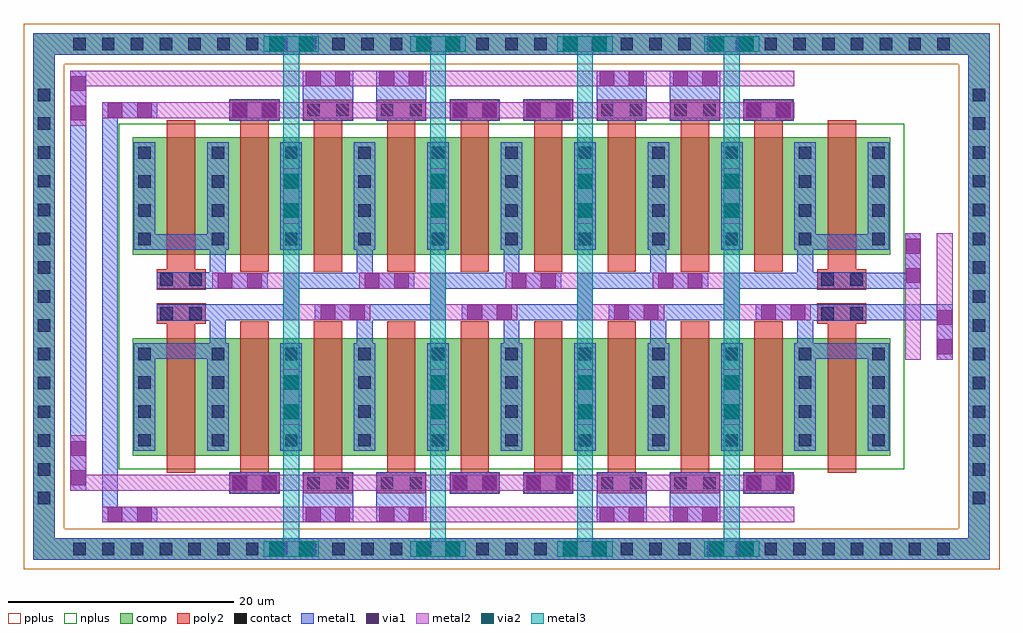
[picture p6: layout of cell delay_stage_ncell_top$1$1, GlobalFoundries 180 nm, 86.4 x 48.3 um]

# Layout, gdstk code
from math import pi, radians
import gdstk
lib = gdstk.Library(unit=1e-6, precision=1e-09)
def R(c, l, rs):  # rectangles x0, y0, x1, y1
    for r in rs: c.add(gdstk.rectangle(r[:2], r[2:], *l))
def A(c, l, x, y, w, h, nx, ny, dx, dy):  # array of equal rectangles
    R(c, l, [(x+i*dx, y+j*dy, x+i*dx+w, y+j*dy+h) for i in range(nx) for j in range(ny)])
comp = (22, 0)
poly2 = (30, 0)
pplus = (31, 0)
nplus = (32, 0)
contact = (33, 0)
metal1 = (34, 0)
via1 = (35, 0)
metal2 = (36, 0)
via2 = (38, 0)
metal3 = (42, 0)

delay_stage_ncell_1_1_2_ = lib.new_cell('delay_stage_ncell_1$1$2$1$1$1')
R(delay_stage_ncell_1_1_2_, comp, [(0,1.5,2.1,11.9), (2.1,1.5,6.5,11.9), (6.5,1.5,8.6,11.9)])
R(delay_stage_ncell_1_1_2_, poly2, [(3.05,0,5.55,13.4)])
A(delay_stage_ncell_1_1_2_, contact, 0.5, 2.325, 1.1, 1.1, 1, 4, 0, 2.55)
A(delay_stage_ncell_1_1_2_, contact, 7, 2.325, 1.1, 1.1, 1, 4, 0, 2.55)
R(delay_stage_ncell_1_1_2_, metal1, [(0.1,1.925,2,11.475), (6.6,1.925,8.5,11.475)])

delay_stage_ncell_4_1_1_ = lib.new_cell('delay_stage_ncell_4$1$1$1$1')
A(delay_stage_ncell_4_1_1_, poly2, 2.125, 13.375, 4.35, 1.8, 4, 1, 6.5, 0)
R(delay_stage_ncell_4_1_1_, contact, [(2.475,13.725,3.575,14.825), (5.025,13.725,6.125,14.825), (8.975,13.725,10.075,14.825), (11.525,13.725,12.625,14.825), (15.475,13.725,16.575,14.825), (18.025,13.725,19.125,14.825), (21.975,13.725,23.075,14.825), (24.525,13.725,25.625,14.825)])
A(delay_stage_ncell_4_1_1_, metal1, 2.075, 13.325, 4.45, 1.9, 4, 1, 6.5, 0)
delay_stage_ncell_4_1_1_.add(gdstk.Reference(delay_stage_ncell_1_1_2_, (0,-0.025)))
delay_stage_ncell_4_1_1_.add(gdstk.Reference(delay_stage_ncell_1_1_2_, (6.5,-0.025)))
delay_stage_ncell_4_1_1_.add(gdstk.Reference(delay_stage_ncell_1_1_2_, (13,-0.025)))
delay_stage_ncell_4_1_1_.add(gdstk.Reference(delay_stage_ncell_1_1_2_, (19.5,-0.025)))

delay_stage_ncell_4_2_1_ = lib.new_cell('delay_stage_ncell_4_2$1$1$1')
R(delay_stage_ncell_4_2_1_, metal1, [(8.575,0,13.025,2.55), (15.075,0,19.525,2.55), (8.575,37.45,13.025,40), (15.075,37.45,19.525,40)])
R(delay_stage_ncell_4_2_1_, via1, [(8.85,0.05,10.15,1.35), (11.45,0.05,12.75,1.35), (15.35,0.05,16.65,1.35), (17.95,0.05,19.25,1.35), (2.35,2.85,3.65,4.15), (4.95,2.85,6.25,4.15), (21.85,2.85,23.15,4.15), (24.45,2.85,25.75,4.15), (6.9,9.15,8.2,10.45), (19.9,9.15,21.2,10.45), (6.9,11.75,8.2,13.05), (19.9,11.75,21.2,13.05), (10.15,17.95,11.45,19.25), (12.75,17.95,14.05,19.25), (23.15,17.95,24.45,19.25), (25.75,17.95,27.05,19.25), (1.05,20.75,2.35,22.05), (3.65,20.75,4.95,22.05), (14.05,20.75,15.35,22.05), (16.65,20.75,17.95,22.05), (6.9,26.95,8.2,28.25), (19.9,26.95,21.2,28.25), (6.9,29.55,8.2,30.85), (19.9,29.55,21.2,30.85), (2.35,35.85,3.65,37.15), (4.95,35.85,6.25,37.15), (21.85,35.85,23.15,37.15), (24.45,35.85,25.75,37.15), (8.85,38.65,10.15,39.95), (11.45,38.65,12.75,39.95), (15.35,38.65,16.65,39.95), (17.95,38.65,19.25,39.95)])
R(delay_stage_ncell_4_2_1_, via2, [(6.9,9.15,8.2,10.45), (19.9,9.15,21.2,10.45), (6.9,11.75,8.2,13.05), (19.9,11.75,21.2,13.05), (6.9,26.95,8.2,28.25), (19.9,26.95,21.2,28.25), (6.9,29.55,8.2,30.85), (19.9,29.55,21.2,30.85)])
delay_stage_ncell_4_2_1_.add(gdstk.FlexPath([(14.05,24.125),(14.05,22.1)], 1.4, ends="flush", simple_path=True, layer=34, datatype=0))  # metal1
delay_stage_ncell_4_2_1_.add(gdstk.FlexPath([(14.05,15.875),(14.05,17.9)], 1.4, ends="flush", simple_path=True, layer=34, datatype=0))  # metal1
delay_stage_ncell_4_2_1_.add(gdstk.FlexPath([(1.05,15.875),(1.05,17.9)], 1.4, ends="flush", simple_path=True, layer=34, datatype=0))  # metal1
delay_stage_ncell_4_2_1_.add(gdstk.FlexPath([(1.05,24.125),(1.05,22.1)], 1.4, ends="flush", simple_path=True, layer=34, datatype=0))  # metal1
delay_stage_ncell_4_2_1_.add(gdstk.FlexPath([(14.55,21.4),(7.55,21.4),(7.55,18.6),(0.35,18.6)], 1.4, ends="flush", simple_path=True, layer=34, datatype=0))  # metal1
delay_stage_ncell_4_2_1_.add(gdstk.FlexPath([(5.45,21.4),(0.35,21.4)], 1.4, ends="flush", simple_path=True, layer=34, datatype=0))  # metal1
delay_stage_ncell_4_2_1_.add(gdstk.FlexPath([(27.05,15.875),(27.05,17.9)], 1.4, ends="flush", simple_path=True, layer=34, datatype=0))  # metal1
delay_stage_ncell_4_2_1_.add(gdstk.FlexPath([(27.75,21.4),(20.55,21.4),(20.55,18.6),(13.55,18.6)], 1.4, ends="flush", simple_path=True, layer=34, datatype=0))  # metal1
delay_stage_ncell_4_2_1_.add(gdstk.FlexPath([(18.45,21.4),(13.55,21.4)], 1.4, ends="flush", simple_path=True, layer=34, datatype=0))  # metal1
delay_stage_ncell_4_2_1_.add(gdstk.FlexPath([(27.05,24.125),(27.05,22.1)], 1.4, ends="flush", simple_path=True, layer=34, datatype=0))  # metal1
delay_stage_ncell_4_2_1_.add(gdstk.FlexPath([(14.05,15.875),(14.05,17.9)], 1.4, ends="flush", simple_path=True, layer=34, datatype=0))  # metal1
delay_stage_ncell_4_2_1_.add(gdstk.FlexPath([(27.75,18.6),(22.65,18.6)], 1.4, ends="flush", simple_path=True, layer=34, datatype=0))  # metal1
delay_stage_ncell_4_2_1_.add(gdstk.FlexPath([(14.05,24.125),(14.05,22.1)], 1.4, ends="flush", simple_path=True, layer=34, datatype=0))  # metal1
delay_stage_ncell_4_2_1_.add(gdstk.FlexPath([(14.55,18.6),(9.65,18.6)], 1.4, ends="flush", simple_path=True, layer=34, datatype=0))  # metal1
delay_stage_ncell_4_2_1_.add(gdstk.FlexPath([(27.05,36.5),(2.025,36.5)], 1.4, ends="flush", simple_path=True, layer=36, datatype=0))  # metal2
delay_stage_ncell_4_2_1_.add(gdstk.FlexPath([(27.05,39.3),(2.025,39.3)], 1.4, ends="flush", simple_path=True, layer=36, datatype=0))  # metal2
delay_stage_ncell_4_2_1_.add(gdstk.FlexPath([(27.05,3.5),(2.025,3.5)], 1.4, ends="flush", simple_path=True, layer=36, datatype=0))  # metal2
delay_stage_ncell_4_2_1_.add(gdstk.FlexPath([(27.05,0.7),(2.025,0.7)], 1.4, ends="flush", simple_path=True, layer=36, datatype=0))  # metal2
delay_stage_ncell_4_2_1_.add(gdstk.FlexPath([(20.55,26.45),(20.55,31.35)], 1.4, ends="flush", simple_path=True, layer=36, datatype=0))  # metal2
delay_stage_ncell_4_2_1_.add(gdstk.FlexPath([(7.55,26.45),(7.55,31.35)], 1.4, ends="flush", simple_path=True, layer=36, datatype=0))  # metal2
delay_stage_ncell_4_2_1_.add(gdstk.FlexPath([(20.55,8.65),(20.55,13.55)], 1.4, ends="flush", simple_path=True, layer=36, datatype=0))  # metal2
delay_stage_ncell_4_2_1_.add(gdstk.FlexPath([(7.55,8.65),(7.55,13.55)], 1.4, ends="flush", simple_path=True, layer=36, datatype=0))  # metal2
delay_stage_ncell_4_2_1_.add(gdstk.FlexPath([(14.55,18.6),(7.55,18.6),(7.55,21.4),(0.55,21.4)], 1.4, ends="flush", simple_path=True, layer=36, datatype=0))  # metal2
delay_stage_ncell_4_2_1_.add(gdstk.FlexPath([(27.55,18.6),(20.55,18.6),(20.55,21.4),(13.55,21.4)], 1.4, ends="flush", simple_path=True, layer=36, datatype=0))  # metal2
delay_stage_ncell_4_2_1_.add(gdstk.FlexPath([(20.55,26.45),(20.55,31.35)], 1.4, ends="flush", simple_path=True, layer=42, datatype=0))  # metal3
delay_stage_ncell_4_2_1_.add(gdstk.FlexPath([(7.55,26.45),(7.55,31.35)], 1.4, ends="flush", simple_path=True, layer=42, datatype=0))  # metal3
delay_stage_ncell_4_2_1_.add(gdstk.FlexPath([(20.55,8.65),(20.55,13.55)], 1.4, ends="flush", simple_path=True, layer=42, datatype=0))  # metal3
delay_stage_ncell_4_2_1_.add(gdstk.FlexPath([(7.55,8.65),(7.55,13.55)], 1.4, ends="flush", simple_path=True, layer=42, datatype=0))  # metal3
delay_stage_ncell_4_2_1_.add(gdstk.Reference(delay_stage_ncell_4_1_1_, (0,22.225)))
delay_stage_ncell_4_2_1_.add(gdstk.Reference(delay_stage_ncell_4_1_1_, (0,17.775), x_reflection=True))

delay_stage_ncell_1_1_1_ = lib.new_cell('delay_stage_ncell_1$1$1$1$1$1')
R(delay_stage_ncell_1_1_1_, comp, [(0,1.5,2.1,11.9), (2.1,1.5,6.5,11.9), (6.5,1.5,8.6,11.9)])
R(delay_stage_ncell_1_1_1_, poly2, [(3.05,0,5.55,13.4)])
A(delay_stage_ncell_1_1_1_, contact, 0.5, 2.325, 1.1, 1.1, 1, 4, 0, 2.55)
A(delay_stage_ncell_1_1_1_, contact, 7, 2.325, 1.1, 1.1, 1, 4, 0, 2.55)
R(delay_stage_ncell_1_1_1_, metal1, [(0.1,1.925,2,11.475), (6.6,1.925,8.5,11.475)])

delay_stage_ncell_1_2_1_ = lib.new_cell('delay_stage_ncell_1_2$1$1$1')
R(delay_stage_ncell_1_2_1_, poly2, [(2.125,15.05,6.475,16.85), (2.125,18.05,6.475,19.85)])
R(delay_stage_ncell_1_2_1_, contact, [(2.475,15.4,3.575,16.5), (5.025,15.4,6.125,16.5), (2.475,18.4,3.575,19.5), (5.025,18.4,6.125,19.5)])
R(delay_stage_ncell_1_2_1_, metal1, [(1.05,15.325,6.475,15.35), (1.05,19.55,6.475,19.575)])
delay_stage_ncell_1_2_1_.add(gdstk.FlexPath([(2,12.625),(6.6,12.625)], 1.4, ends="flush", simple_path=True, layer=34, datatype=0))  # metal1
delay_stage_ncell_1_2_1_.add(gdstk.FlexPath([(6.475,16.05),(1.05,16.05)], 1.4, ends="flush", simple_path=True, layer=34, datatype=0))  # metal1
delay_stage_ncell_1_2_1_.add(gdstk.FlexPath([(2,22.275),(6.6,22.275)], 1.4, ends="flush", simple_path=True, layer=34, datatype=0))  # metal1
delay_stage_ncell_1_2_1_.add(gdstk.FlexPath([(6.475,18.85),(1.05,18.85)], 1.4, ends="flush", simple_path=True, layer=34, datatype=0))  # metal1
delay_stage_ncell_1_2_1_.add(gdstk.Reference(delay_stage_ncell_1_1_1_, (0,19.65)))
delay_stage_ncell_1_2_1_.add(gdstk.Reference(delay_stage_ncell_1_1_1_, (0,15.25), x_reflection=True))

delay_stage_ncell_top_1_ = lib.new_cell('delay_stage_ncell_top$1$1')
R(delay_stage_ncell_top_1_, nplus, [(8.45,8.85,77.95,39.45)])
A(delay_stage_ncell_top_1_, contact, 4.4, 1.25, 1.1, 1.1, 31, 2, 2.55, 44.7)
A(delay_stage_ncell_top_1_, contact, 1.25, 5.75, 1.1, 1.1, 1, 15, 0, 2.55)
A(delay_stage_ncell_top_1_, contact, 84.05, 5.75, 1.1, 1.1, 1, 15, 0, 2.55)
R(delay_stage_ncell_top_1_, via1, [(21.75,1.15,23.05,2.45), (24.35,1.15,25.65,2.45), (34.75,1.15,36.05,2.45), (37.35,1.15,38.65,2.45), (47.75,1.15,49.05,2.45), (50.35,1.15,51.65,2.45), (60.75,1.15,62.05,2.45), (63.35,1.15,64.65,2.45), (7.45,4.2,8.75,5.5), (7.45,4.2,8.75,5.5), (10.05,4.2,11.35,5.5), (10.05,4.2,11.35,5.5), (4.2,7.45,5.5,8.75), (4.2,7.45,5.5,8.75), (4.2,10.05,5.5,11.35), (4.2,10.05,5.5,11.35), (80.9,19.05,82.2,20.35), (80.9,19.05,82.2,20.35), (80.9,21.65,82.2,22.95), (80.9,21.65,82.2,22.95), (78.1,25.35,79.4,26.65), (78.1,25.35,79.4,26.65), (78.1,27.95,79.4,29.25), (78.1,27.95,79.4,29.25), (4.2,39.75,5.5,41.05), (4.2,39.75,5.5,41.05), (7.45,40,8.75,41.3), (7.45,40,8.75,41.3), (10.05,40,11.35,41.3), (10.05,40,11.35,41.3), (4.2,42.35,5.5,43.65), (4.2,42.35,5.5,43.65), (21.75,45.85,23.05,47.15), (24.35,45.85,25.65,47.15), (34.75,45.85,36.05,47.15), (37.35,45.85,38.65,47.15), (47.75,45.85,49.05,47.15), (50.35,45.85,51.65,47.15), (60.75,45.85,62.05,47.15), (63.35,45.85,64.65,47.15)])
R(delay_stage_ncell_top_1_, via2, [(21.75,1.15,23.05,2.45), (24.35,1.15,25.65,2.45), (34.75,1.15,36.05,2.45), (37.35,1.15,38.65,2.45), (47.75,1.15,49.05,2.45), (50.35,1.15,51.65,2.45), (60.75,1.15,62.05,2.45), (63.35,1.15,64.65,2.45), (21.75,45.85,23.05,47.15), (24.35,45.85,25.65,47.15), (34.75,45.85,36.05,47.15), (37.35,45.85,38.65,47.15), (47.75,45.85,49.05,47.15), (50.35,45.85,51.65,47.15), (60.75,45.85,62.05,47.15), (63.35,45.85,64.65,47.15)])
delay_stage_ncell_top_1_.add(gdstk.FlexPath([(84.6,47.45),(84.6,1.8),(1.8,1.8),(1.8,46.5),(83.65,46.5)], 1.9, ends="flush", simple_path=True, layer=34, datatype=0))  # metal1
delay_stage_ncell_top_1_.add(gdstk.FlexPath([(69.9,22.75),(80.85,22.75)], 1.4, ends="flush", simple_path=True, layer=34, datatype=0))  # metal1
delay_stage_ncell_top_1_.add(gdstk.FlexPath([(69.9,25.55),(78.05,25.55)], 1.4, ends="flush", simple_path=True, layer=34, datatype=0))  # metal1
delay_stage_ncell_top_1_.add(gdstk.FlexPath([(81.55,18.55),(81.55,23.45)], 1.4, ends="flush", simple_path=True, layer=34, datatype=0))  # metal1
delay_stage_ncell_top_1_.add(gdstk.FlexPath([(81.55,18.55),(81.55,23.45)], 1.4, ends="flush", simple_path=True, layer=34, datatype=0))  # metal1
delay_stage_ncell_top_1_.add(gdstk.FlexPath([(78.75,24.85),(78.75,29.75)], 1.4, ends="flush", simple_path=True, layer=34, datatype=0))  # metal1
delay_stage_ncell_top_1_.add(gdstk.FlexPath([(78.75,24.85),(78.75,29.75)], 1.4, ends="flush", simple_path=True, layer=34, datatype=0))  # metal1
delay_stage_ncell_top_1_.add(gdstk.FlexPath([(4.85,6.95),(4.85,44.15)], 1.4, ends="flush", simple_path=True, layer=34, datatype=0))  # metal1
delay_stage_ncell_top_1_.add(gdstk.FlexPath([(7.65,5.55),(7.65,41.35)], 1.4, ends="flush", simple_path=True, layer=34, datatype=0))  # metal1
delay_stage_ncell_top_1_.add(gdstk.FlexPath([(4.85,39.25),(4.85,44.15)], 1.4, ends="flush", simple_path=True, layer=34, datatype=0))  # metal1
delay_stage_ncell_top_1_.add(gdstk.FlexPath([(6.95,40.65),(11.85,40.65)], 1.4, ends="flush", simple_path=True, layer=34, datatype=0))  # metal1
delay_stage_ncell_top_1_.add(gdstk.FlexPath([(6.95,4.85),(11.85,4.85)], 1.4, ends="flush", simple_path=True, layer=34, datatype=0))  # metal1
delay_stage_ncell_top_1_.add(gdstk.FlexPath([(4.85,11.85),(4.85,6.95)], 1.4, ends="flush", simple_path=True, layer=34, datatype=0))  # metal1
delay_stage_ncell_top_1_.add(gdstk.FlexPath([(84.6,47.45),(84.6,1.8),(1.8,1.8),(1.8,46.5),(83.65,46.5)], 1.9, ends="flush", simple_path=True, layer=22, datatype=0))  # comp
delay_stage_ncell_top_1_.add(gdstk.FlexPath([(78.75,18.55),(78.75,29.75)], 1.4, ends="flush", simple_path=True, layer=36, datatype=0))  # metal2
delay_stage_ncell_top_1_.add(gdstk.FlexPath([(81.55,18.55),(81.55,29.75)], 1.4, ends="flush", simple_path=True, layer=36, datatype=0))  # metal2
delay_stage_ncell_top_1_.add(gdstk.FlexPath([(60.25,1.8),(65.15,1.8)], 1.4, ends="flush", simple_path=True, layer=36, datatype=0))  # metal2
delay_stage_ncell_top_1_.add(gdstk.FlexPath([(60.25,46.5),(65.15,46.5)], 1.4, ends="flush", simple_path=True, layer=36, datatype=0))  # metal2
delay_stage_ncell_top_1_.add(gdstk.FlexPath([(47.25,1.8),(52.15,1.8)], 1.4, ends="flush", simple_path=True, layer=36, datatype=0))  # metal2
delay_stage_ncell_top_1_.add(gdstk.FlexPath([(47.25,46.5),(52.15,46.5)], 1.4, ends="flush", simple_path=True, layer=36, datatype=0))  # metal2
delay_stage_ncell_top_1_.add(gdstk.FlexPath([(34.25,1.8),(39.15,1.8)], 1.4, ends="flush", simple_path=True, layer=36, datatype=0))  # metal2
delay_stage_ncell_top_1_.add(gdstk.FlexPath([(34.25,46.5),(39.15,46.5)], 1.4, ends="flush", simple_path=True, layer=36, datatype=0))  # metal2
delay_stage_ncell_top_1_.add(gdstk.FlexPath([(21.25,1.8),(26.15,1.8)], 1.4, ends="flush", simple_path=True, layer=36, datatype=0))  # metal2
delay_stage_ncell_top_1_.add(gdstk.FlexPath([(21.25,46.5),(26.15,46.5)], 1.4, ends="flush", simple_path=True, layer=36, datatype=0))  # metal2
delay_stage_ncell_top_1_.add(gdstk.FlexPath([(18.175,7.65),(4.15,7.65)], 1.4, ends="flush", simple_path=True, layer=36, datatype=0))  # metal2
delay_stage_ncell_top_1_.add(gdstk.FlexPath([(18.175,4.85),(11.85,4.85)], 1.4, ends="flush", simple_path=True, layer=36, datatype=0))  # metal2
delay_stage_ncell_top_1_.add(gdstk.FlexPath([(18.175,40.65),(8.35,40.65)], 1.4, ends="flush", simple_path=True, layer=36, datatype=0))  # metal2
delay_stage_ncell_top_1_.add(gdstk.FlexPath([(18.175,43.45),(5.55,43.45)], 1.4, ends="flush", simple_path=True, layer=36, datatype=0))  # metal2
delay_stage_ncell_top_1_.add(gdstk.FlexPath([(4.85,39.25),(4.85,44.15)], 1.4, ends="flush", simple_path=True, layer=36, datatype=0))  # metal2
delay_stage_ncell_top_1_.add(gdstk.FlexPath([(6.95,40.65),(11.85,40.65)], 1.4, ends="flush", simple_path=True, layer=36, datatype=0))  # metal2
delay_stage_ncell_top_1_.add(gdstk.FlexPath([(6.95,4.85),(11.85,4.85)], 1.4, ends="flush", simple_path=True, layer=36, datatype=0))  # metal2
delay_stage_ncell_top_1_.add(gdstk.FlexPath([(4.85,11.85),(4.85,6.95)], 1.4, ends="flush", simple_path=True, layer=36, datatype=0))  # metal2
delay_stage_ncell_top_1_.add(gdstk.FlexPath([(60.25,1.8),(65.15,1.8)], 1.4, ends="flush", simple_path=True, layer=42, datatype=0))  # metal3
delay_stage_ncell_top_1_.add(gdstk.FlexPath([(60.25,46.5),(65.15,46.5)], 1.4, ends="flush", simple_path=True, layer=42, datatype=0))  # metal3
delay_stage_ncell_top_1_.add(gdstk.FlexPath([(62.7,45.8),(62.7,2.5)], 1.4, ends="flush", simple_path=True, layer=42, datatype=0))  # metal3
delay_stage_ncell_top_1_.add(gdstk.FlexPath([(47.25,1.8),(52.15,1.8)], 1.4, ends="flush", simple_path=True, layer=42, datatype=0))  # metal3
delay_stage_ncell_top_1_.add(gdstk.FlexPath([(47.25,46.5),(52.15,46.5)], 1.4, ends="flush", simple_path=True, layer=42, datatype=0))  # metal3
delay_stage_ncell_top_1_.add(gdstk.FlexPath([(49.7,45.8),(49.7,2.5)], 1.4, ends="flush", simple_path=True, layer=42, datatype=0))  # metal3
delay_stage_ncell_top_1_.add(gdstk.FlexPath([(34.25,1.8),(39.15,1.8)], 1.4, ends="flush", simple_path=True, layer=42, datatype=0))  # metal3
delay_stage_ncell_top_1_.add(gdstk.FlexPath([(34.25,46.5),(39.15,46.5)], 1.4, ends="flush", simple_path=True, layer=42, datatype=0))  # metal3
delay_stage_ncell_top_1_.add(gdstk.FlexPath([(36.7,45.8),(36.7,2.5)], 1.4, ends="flush", simple_path=True, layer=42, datatype=0))  # metal3
delay_stage_ncell_top_1_.add(gdstk.FlexPath([(21.25,1.8),(26.15,1.8)], 1.4, ends="flush", simple_path=True, layer=42, datatype=0))  # metal3
delay_stage_ncell_top_1_.add(gdstk.FlexPath([(21.25,46.5),(26.15,46.5)], 1.4, ends="flush", simple_path=True, layer=42, datatype=0))  # metal3
delay_stage_ncell_top_1_.add(gdstk.FlexPath([(23.7,45.8),(23.7,2.5)], 1.4, ends="flush", simple_path=True, layer=42, datatype=0))  # metal3
delay_stage_ncell_top_1_.add(gdstk.FlexPath([(84.6,48.3),(84.6,1.8),(1.8,1.8),(1.8,46.5),(86.4,46.5)], 3.6, ends="flush", simple_path=True, layer=31, datatype=0))  # pplus
delay_stage_ncell_top_1_.add(gdstk.Reference(delay_stage_ncell_4_2_1_, (16.15,4.15)))
delay_stage_ncell_top_1_.add(gdstk.Reference(delay_stage_ncell_4_2_1_, (70.25,44.15), rotation=pi))
delay_stage_ncell_top_1_.add(gdstk.Reference(delay_stage_ncell_1_2_1_, (68.15,6.7)))
delay_stage_ncell_top_1_.add(gdstk.Reference(delay_stage_ncell_1_2_1_, (18.25,6.7), rotation=pi, x_reflection=True))

lib.write_gds('delay_stage_ncell_top_1_1.gds')
